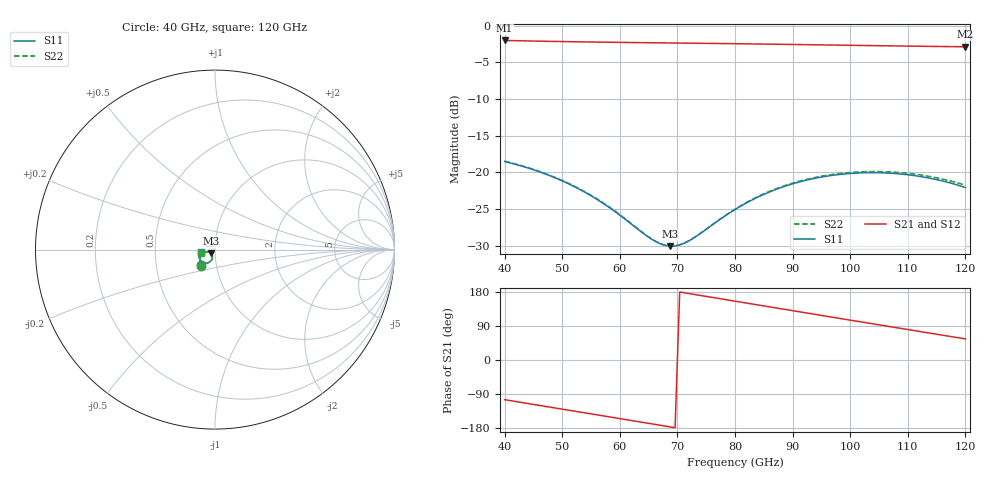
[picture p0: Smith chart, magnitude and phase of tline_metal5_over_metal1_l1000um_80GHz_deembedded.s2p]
! Created with skrf 2.2.0 (http://scikit-rf.org).
# GHz S DB R 50.0
! Port[1] = P1
! Port[2] = P2
!freq dBS11 angS11 dBS21 angS21 dBS12 angS12 dBS22 angS22
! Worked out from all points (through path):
!   101 points, 40 GHz to 120 GHz, reference 50 ohm
!   highest |S21| = -2.03 dB at 40 GHz (marker M1); lowest = -2.9 dB at 120 GHz (marker M2)
!   group delay of S21, straight-line fit = 6.94 ps
!   lowest |S11| = -30.1 dB at 68.8 GHz (marker M3), VSWR 1.06, Z = 47.7 - j2.03 ohm
!   |S11| at or under -10 dB: start of sweep to end of sweep
!   |S22| runs from -30.0 to -18.5 dB; largest |S21 - S12| = 8.8e-14
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40  -18.52 -131.9  -2.03 -104.7  -2.03 -104.7  -18.47 -131.8
46.4  -20.03 -147.5  -2.13 -120.7  -2.13 -120.7  -19.97 -147.3
53.6  -22.56 -160.9  -2.22 -138.7  -2.22 -138.7  -22.49 -160.7
56.8  -24.06 -164.5  -2.26 -146.7  -2.26 -146.7  -23.99 -164.2
60.8  -26.31 -164.7  -2.30 -156.6  -2.30 -156.6  -26.24 -164.5
64.8  -28.72 -156.6  -2.33 -166.6  -2.33 -166.6  -28.67 -156.4
67.2  -29.78 -146.1  -2.36 -172.6  -2.36 -172.6  -29.75 -145.8
68.8  -30.05 -137.4  -2.37 -176.6  -2.37 -176.6  -30.03 -137.0
70.4  -29.88 -128.6  -2.38 179.4  -2.38 179.4  -29.87 -128.1
72  -29.33 -121.0  -2.40 175.3  -2.40 175.3  -29.31 -120.3
76  -27.19 -109.9  -2.43 165.3  -2.43 165.3  -27.15 -109.1
80  -25.07 -108.0  -2.47 155.3  -2.47 155.3  -25.01 -107.0
83.2  -23.67 -110.0  -2.50 147.2  -2.50 147.2  -23.59 -108.9
86.4  -22.54 -113.7  -2.54 139.2  -2.54 139.2  -22.46 -112.5
90.4  -21.47 -119.8  -2.58 129.2  -2.58 129.2  -21.37 -118.5
93.6  -20.85 -125.2  -2.61 121.2  -2.61 121.2  -20.74 -123.9
97.6  -20.34 -132.5  -2.66 111.2  -2.66 111.2  -20.21 -131.0
100.8  -20.11 -138.5  -2.70 103.2  -2.70 103.2  -19.97 -136.9
104  -20.04 -144.5  -2.73 95.3  -2.73 95.3  -19.88 -142.7
107.2  -20.13 -150.4  -2.77 87.3  -2.77 87.3  -19.95 -148.5
113.6  -20.76 -161.6  -2.83 71.5  -2.83 71.5  -20.53 -159.4
120  -22.07 -171.2  -2.89 55.6  -2.89 55.6  -21.75 -168.6
